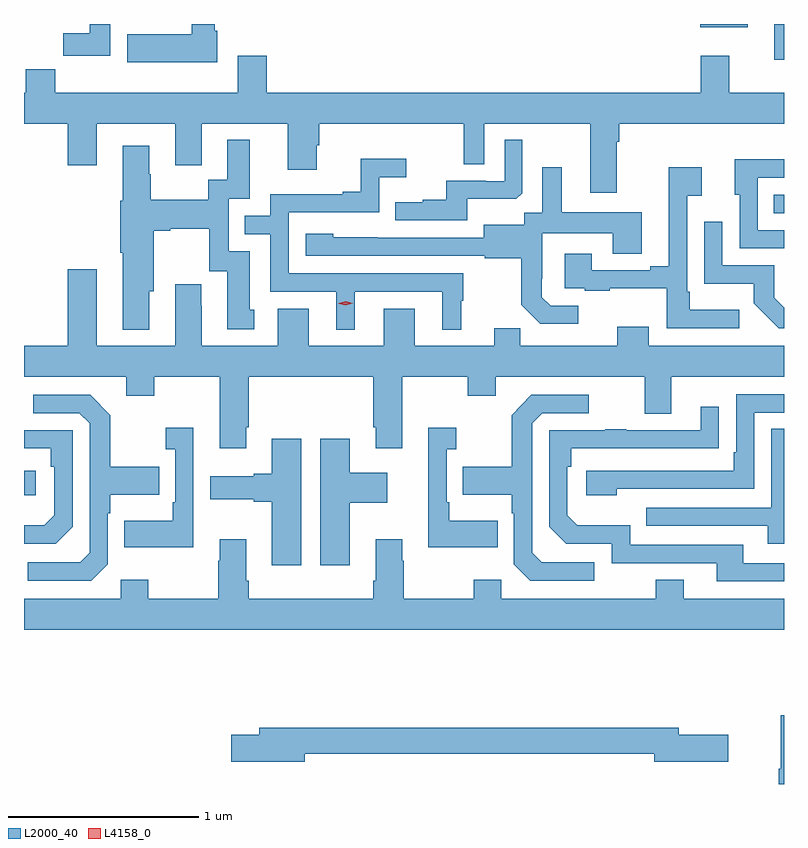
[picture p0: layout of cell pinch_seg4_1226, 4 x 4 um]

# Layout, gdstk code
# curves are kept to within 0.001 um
import gdstk
lib = gdstk.Library(unit=1e-6, precision=1e-09)
def R(c, l, rs):  # rectangles x0, y0, x1, y1
    for r in rs: c.add(gdstk.rectangle(r[:2], r[2:], *l))
def P(c, l, *ps):  # polygons
    for p in ps: c.add(gdstk.Polygon(p, *l))
L2000_40 = (2000, 40)
L4158_0 = (4158, 0)

pinch_seg4_1226 = lib.new_cell('pinch_seg4_1226')
R(pinch_seg4_1226, L2000_40, [(156.92,822.836,156.982,822.966), (160.867,824.322,160.92,824.418), (160.868,825.128,160.92,825.317), (160.478,825.299,160.729,825.317)])
P(pinch_seg4_1226, L2000_40, [(157.936,825.282),(157.924,825.282),(157.924,825.317),(157.802,825.317),(157.802,825.262),(157.463,825.262),(157.463,825.116),(157.936,825.116)],
  [(157.375,825.317),(157.265,825.317),(157.265,825.268),(157.126,825.268),(157.126,825.15),(157.375,825.15)],
  [(160.039,824.696),(160.052,824.696),(160.052,824.792),(160.92,824.792),(160.92,824.956),(160.633,824.956),(160.633,825.151),(160.481,825.151),(160.481,824.956),(158.198,824.956),(158.198,825.151),(158.045,825.151),(158.045,824.956),(157.085,824.956),(157.085,825.08),(156.929,825.08),(156.929,824.956),(156.92,824.956),(156.92,824.792),(157.151,824.792),(157.151,824.574),(157.303,824.574),(157.303,824.792),(157.715,824.792),(157.715,824.574),(157.855,824.574),(157.855,824.792),(158.309,824.792),(158.309,824.55),(158.461,824.55),(158.461,824.679),(158.474,824.679),(158.474,824.792),(159.234,824.792),(159.234,824.578),(159.342,824.578),(159.342,824.792),(159.899,824.792),(159.899,824.43),(160.039,824.43)],
  [(159.253,824.396),(159.511,824.396),(159.543,824.427),(159.543,824.707),(159.45,824.707),(159.45,824.49),(159.35,824.49),(159.35,824.493),(159.143,824.493),(159.143,824.392),(159.019,824.392),(159.019,824.38),(158.875,824.38),(158.875,824.283),(159.253,824.283)],
  [(157.579,823.911),(157.602,823.911),(157.602,824.228),(157.69,824.228),(157.69,824.24),(157.895,824.24),(157.895,824.016),(157.991,824.016),(157.991,823.71),(158.131,823.71),(158.131,823.812),(158.107,823.812),(158.107,824.121),(157.998,824.121),(157.998,824.397),(158.107,824.397),(158.107,824.707),(157.991,824.707),(157.991,824.498),(157.89,824.498),(157.89,824.392),(157.587,824.392),(157.587,824.526),(157.579,824.526),(157.579,824.677),(157.439,824.677),(157.439,824.388),(157.427,824.388),(157.427,824.113),(157.439,824.113),(157.439,823.709),(157.579,823.709)],
  [(158.662,823.908),(159.122,823.908),(159.122,823.709),(159.22,823.709),(159.22,823.86),(159.232,823.86),(159.232,824.004),(158.313,824.004),(158.313,824.325),(158.79,824.325),(158.79,824.51),(158.932,824.51),(158.932,824.609),(158.692,824.609),(158.692,824.434),(158.597,824.434),(158.597,824.421),(158.217,824.421),(158.217,824.307),(158.083,824.307),(158.083,824.211),(158.217,824.211),(158.217,823.908),(158.564,823.908),(158.564,823.709),(158.662,823.709)],
  [(160.92,824.232),(160.782,824.232),(160.782,824.508),(160.92,824.508),(160.92,824.604),(160.879,824.604),(160.879,824.606),(160.661,824.606),(160.661,824.418),(160.686,824.418),(160.686,824.136),(160.92,824.136)],
  [(160.684,823.813),(160.423,823.813),(160.423,823.909),(160.41,823.909),(160.41,824.414),(160.486,824.414),(160.486,824.563),(160.313,824.563),(160.313,824.041),(160.217,824.041),(160.217,824.022),(159.907,824.022),(159.907,824.107),(159.767,824.107),(159.767,823.926),(159.871,823.926),(159.871,823.914),(160.003,823.914),(160.003,823.925),(160.302,823.925),(160.302,823.716),(160.684,823.716)],
  [(159.838,823.833),(159.693,823.833),(159.646,823.88),(159.646,823.975),(159.648,823.975),(159.648,824.216),(160.019,824.216),(160.019,824.107),(160.171,824.107),(160.171,824.326),(159.751,824.326),(159.751,824.563),(159.647,824.563),(159.647,824.324),(159.552,824.324),(159.552,824.26),(159.341,824.26),(159.341,824.193),(158.547,824.194),(158.547,824.212),(158.403,824.212),(158.403,824.097),(159.345,824.097),(159.345,824.085),(159.537,824.085),(159.537,823.839),(159.637,823.739),(159.838,823.739)],
  [(160.92,823.824),(160.869,823.875),(160.869,824.046),(160.596,824.046),(160.596,824.275),(160.5,824.275),(160.5,823.949),(160.762,823.949),(160.762,823.847),(160.892,823.716),(160.92,823.716)],
  [(158.089,823.195),(158.102,823.195),(158.102,823.46),(158.759,823.46),(158.759,823.195),(158.771,823.195),(158.771,823.083),(158.911,823.083),(158.911,823.46),(159.256,823.46),(159.256,823.361),(159.403,823.361),(159.403,823.46),(160.187,823.46),(160.187,823.266),(160.327,823.266),(160.327,823.46),(160.92,823.46),(160.92,823.624),(160.207,823.624),(160.207,823.723),(160.043,823.723),(160.043,823.624),(159.533,823.624),(159.533,823.715),(159.395,823.715),(159.395,823.624),(158.977,823.624),(158.977,823.819),(158.813,823.819),(158.813,823.624),(158.419,823.624),(158.419,823.819),(158.255,823.819),(158.255,823.624),(157.855,823.624),(157.855,823.835),(157.852,823.835),(157.852,823.948),(157.715,823.948),(157.715,823.624),(157.303,823.624),(157.303,824.026),(157.151,824.026),(157.151,823.624),(156.92,823.624),(156.92,823.46),(157.457,823.46),(157.457,823.361),(157.605,823.361),(157.605,823.46),(157.949,823.46),(157.949,823.083),(158.089,823.083)],
  [(160.04,822.87),(160.764,822.87),(160.764,823.272),(160.92,823.272),(160.92,823.368),(160.668,823.368),(160.668,823.063),(160.655,823.063),(160.655,822.966),(159.879,822.966),(159.879,822.836),(160.04,822.836)],
  [(157.362,822.474),(157.362,822.743),(157.375,822.743),(157.375,822.839),(157.631,822.839),(157.631,822.987),(157.375,822.987),(157.375,823.259),(157.269,823.365),(156.969,823.365),(156.969,823.269),(157.212,823.269),(157.266,823.215),(157.266,822.534),(157.215,822.483),(156.939,822.483),(156.939,822.387),(157.275,822.387)],
  [(159.922,822.483),(159.645,822.483),(159.594,822.534),(159.594,823.215),(159.648,823.269),(159.892,823.269),(159.892,823.365),(159.591,823.365),(159.486,823.259),(159.486,822.987),(159.229,822.987),(159.229,822.839),(159.486,822.839),(159.486,822.743),(159.498,822.743),(159.498,822.474),(159.585,822.387),(159.922,822.387)],
  [(160.92,822.48),(160.705,822.48),(160.705,822.576),(160.11,822.576),(160.11,822.679),(159.833,822.679),(159.78,822.732),(159.78,822.986),(159.8,822.986),(159.8,823.083),(160.577,823.084),(160.577,823.303),(160.481,823.303),(160.481,823.179),(160.091,823.179),(160.091,823.184),(159.979,823.184),(159.979,823.179),(159.684,823.179),(159.684,822.672),(159.774,822.582),(160.014,822.582),(160.014,822.48),(160.565,822.48),(160.565,822.384),(160.92,822.384)],
  [(159.413,822.703),(159.157,822.703),(159.157,822.799),(159.144,822.799),(159.144,823.079),(159.196,823.079),(159.196,823.192),(159.047,823.192),(159.047,822.563),(159.413,822.563)],
  [(157.812,823.192),(157.665,823.192),(157.665,823.079),(157.716,823.079),(157.716,822.799),(157.704,822.799),(157.704,822.703),(157.447,822.703),(157.447,822.563),(157.812,822.563)],
  [(160.92,823.187),(160.854,823.187),(160.854,822.771),(160.195,822.771),(160.195,822.675),(160.835,822.675),(160.835,822.581),(160.92,822.581)],
  [(157.176,822.672),(157.176,823.179),(156.92,823.179),(156.92,823.083),(157.06,823.083),(157.06,822.986),(157.08,822.986),(157.08,822.732),(157.027,822.679),(156.92,822.679),(156.92,822.582),(157.086,822.582)],
  [(158.38,823.135),(158.225,823.135),(158.225,822.95),(158.129,822.95),(158.129,822.937),(157.899,822.937),(157.899,822.815),(158.129,822.815),(158.129,822.803),(158.225,822.803),(158.225,822.468),(158.38,822.468)],
  [(158.635,822.797),(158.833,822.797),(158.833,822.955),(158.635,822.955),(158.635,823.135),(158.48,823.135),(158.48,822.468),(158.635,822.468)],
  [(160.92,822.292),(160.393,822.292),(160.393,822.391),(160.246,822.391),(160.246,822.292),(159.432,822.292),(159.432,822.391),(159.286,822.391),(159.286,822.292),(158.919,822.292),(158.919,822.491),(158.911,822.491),(158.911,822.604),(158.771,822.604),(158.771,822.388),(158.759,822.388),(158.759,822.292),(158.102,822.292),(158.102,822.388),(158.089,822.388),(158.089,822.604),(157.949,822.604),(157.949,822.491),(157.942,822.491),(157.942,822.292),(157.575,822.292),(157.575,822.391),(157.428,822.391),(157.428,822.292),(156.92,822.292),(156.92,822.128),(160.92,822.128)],
  [(160.92,821.68),(160.904,821.68),(160.904,821.398),(160.892,821.398),(160.892,821.317),(160.92,821.317)],
  [(158.398,821.476),(160.238,821.476),(160.238,821.434),(160.627,821.434),(160.627,821.576),(160.366,821.576),(160.366,821.612),(158.159,821.612),(158.159,821.576),(158.01,821.576),(158.01,821.434),(158.398,821.434)])
P(pinch_seg4_1226, L4158_0, [(158.613,823.837),(158.577,823.845),(158.577,823.846),(158.577,823.846),(158.613,823.857),(158.649,823.848),(158.649,823.848),(158.649,823.848)])

lib.write_gds('pinch_seg4_1226.gds')
